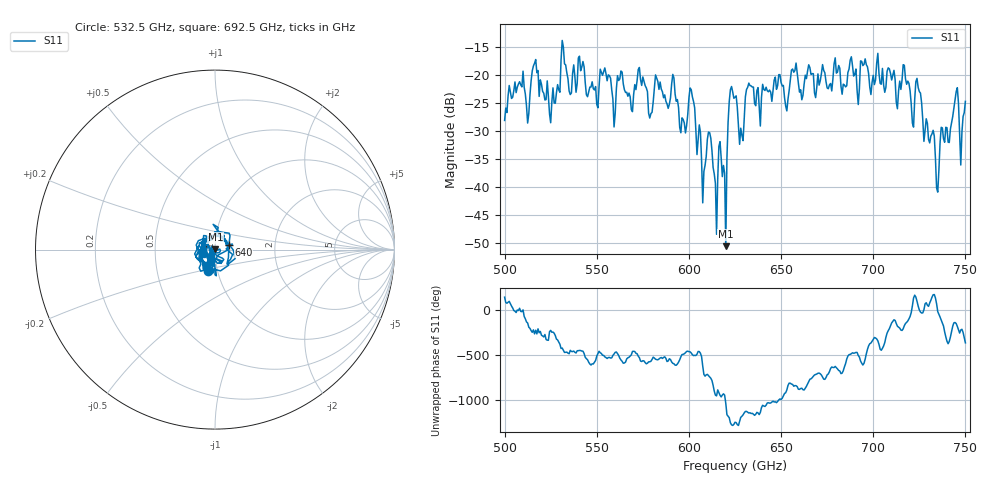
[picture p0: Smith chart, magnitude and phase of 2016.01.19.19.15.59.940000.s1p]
!Created with skrf (http://scikit-rf.org).
# GHz S RI R 50.0
!freq ReS11 ImS11
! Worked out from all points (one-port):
!   401 points, 500 GHz to 750 GHz, reference 50 ohm
!   lowest |S11| = -50.5 dB at 620 GHz (marker M1), VSWR 1.01, Z = 50.2 + j0.197 ohm
!   |S11| at or under -10 dB: start of sweep to end of sweep
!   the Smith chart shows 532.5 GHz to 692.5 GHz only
!   S11 on the Smith chart (normalised r, x): 532.5 GHz: 0.90, -0.21; 640 GHz: 1.16, +0.07; 692.5 GHz: 0.87, -0.04
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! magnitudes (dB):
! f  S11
! 500 GHz  -28.1
! 508.8 GHz  -21.8
! 512.5 GHz  -28.6
! 516.2 GHz  -18.0
! 525.6 GHz  -24.9
! 531.2 GHz  -13.9
! 532.5 GHz  -18.1
! 559.4 GHz  -29.3
! 562.5 GHz  -20.8
! 593.8 GHz  -24.4
! 601.2 GHz  -22.7
! 608.1 GHz  -37.2
! 611.2 GHz  -30.3
! 614.4 GHz  -39.4
! 620 GHz  -50.5
! 622.5 GHz  -22.7
! 625 GHz  -24.0
! 628.1 GHz  -29.5
! 632.5 GHz  -21.5
! 640 GHz  -21.7
! 656.2 GHz  -19.0
! 687.5 GHz  -17.4
! 692.5 GHz  -22.4
! 718.8 GHz  -21.2
! 735 GHz  -40.9
! 745 GHz  -23.0
! 748.1 GHz  -30.2
! 750 GHz  -24.8
